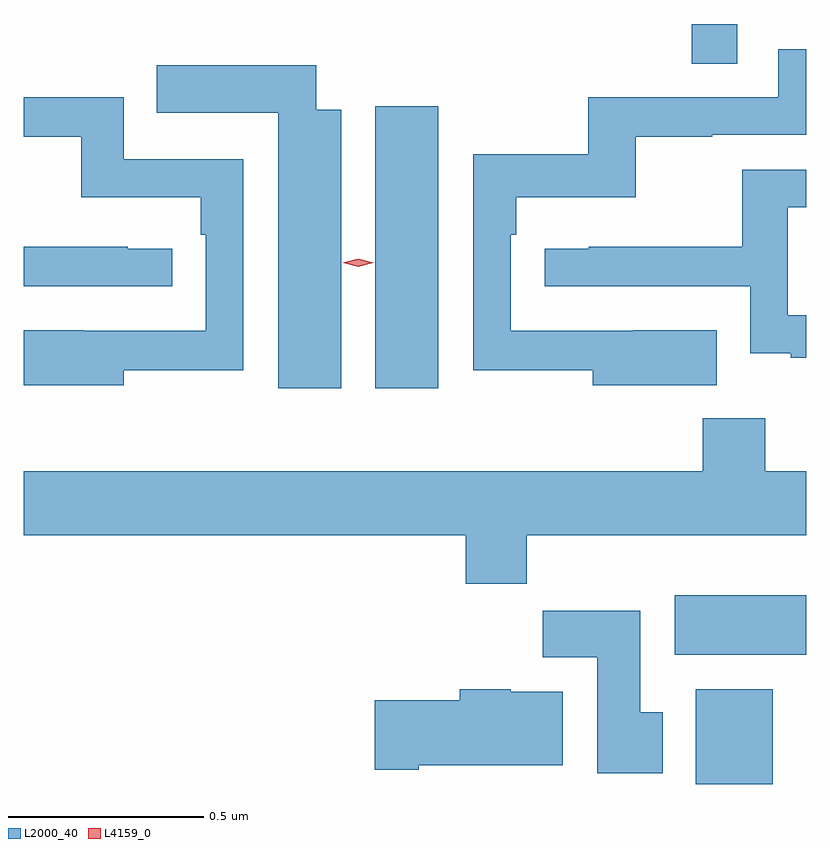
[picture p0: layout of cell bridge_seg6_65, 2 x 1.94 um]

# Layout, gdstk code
import gdstk
lib = gdstk.Library(unit=1e-6, precision=1e-09)
def R(c, l, rs):  # rectangles x0, y0, x1, y1
    for r in rs: c.add(gdstk.rectangle(r[:2], r[2:], *l))
def P(c, l, *ps):  # polygons
    for p in ps: c.add(gdstk.Polygon(p, *l))
L2000_40 = (2000, 40)
L4159_0 = (4159, 0)

bridge_seg6_65 = lib.new_cell('bridge_seg6_65')
R(bridge_seg6_65, L2000_40, [(839.279,925.388,839.476,925.63), (839.225,925.718,839.561,925.87), (838.46,926.4,838.621,927.121), (839.269,927.229,839.385,927.331)])
P(bridge_seg6_65, L2000_40, [(839.333,926.548),(839.119,926.548),(839.119,926.547),(838.806,926.547),(838.806,926.792),(838.82,926.792),(838.82,926.888),(839.125,926.888),(839.125,927.043),(839.321,927.043),(839.321,927.048),(839.561,927.048),(839.561,927.267),(839.49,927.267),(839.49,927.144),(839.004,927.144),(839.004,926.998),(838.71,926.998),(838.71,926.446),(839.015,926.446),(839.015,926.408),(839.333,926.408)],
  [(838.372,927.112),(838.309,927.112),(838.309,927.226),(837.901,927.226),(837.901,927.104),(838.211,927.104),(838.211,926.4),(838.372,926.4)],
  [(837.817,926.446),(838.122,926.446),(838.122,926.985),(837.816,926.985),(837.816,927.144),(837.561,927.144),(837.561,927.043),(837.708,927.043),(837.708,926.888),(838.013,926.888),(838.013,926.792),(838.026,926.792),(838.026,926.547),(837.713,926.547),(837.713,926.548),(837.561,926.548),(837.561,926.408),(837.817,926.408)],
  [(839.561,926.586),(839.514,926.586),(839.514,926.862),(839.561,926.862),(839.561,926.958),(839.398,926.958),(839.398,926.762),(839.005,926.762),(839.005,926.757),(838.893,926.757),(838.893,926.661),(839.418,926.661),(839.418,926.489),(839.521,926.489),(839.521,926.478),(839.561,926.478)],
  [(837.94,926.757),(837.827,926.757),(837.827,926.762),(837.561,926.762),(837.561,926.661),(837.94,926.661)],
  [(838.847,926.024),(839.561,926.024),(839.561,926.188),(839.457,926.188),(839.457,926.323),(839.297,926.323),(839.297,926.188),(837.561,926.188),(837.561,926.024),(838.691,926.024),(838.691,925.9),(838.847,925.9)],
  [(839.194,925.572),(839.137,925.572),(839.137,925.831),(838.888,925.831),(838.888,925.712),(839.027,925.712),(839.027,925.416),(839.194,925.416)],
  [(838.57,925.436),(838.939,925.436),(838.939,925.624),(838.806,925.624),(838.806,925.63),(838.676,925.63),(838.676,925.602),(838.458,925.602),(838.458,925.424),(838.57,925.424)])
P(bridge_seg6_65, L4159_0, [(838.416,926.711),(838.376,926.721),(838.376,926.721),(838.376,926.721),(838.416,926.731),(838.456,926.721),(838.456,926.721),(838.456,926.721)])

lib.write_gds('bridge_seg6_65.gds')
